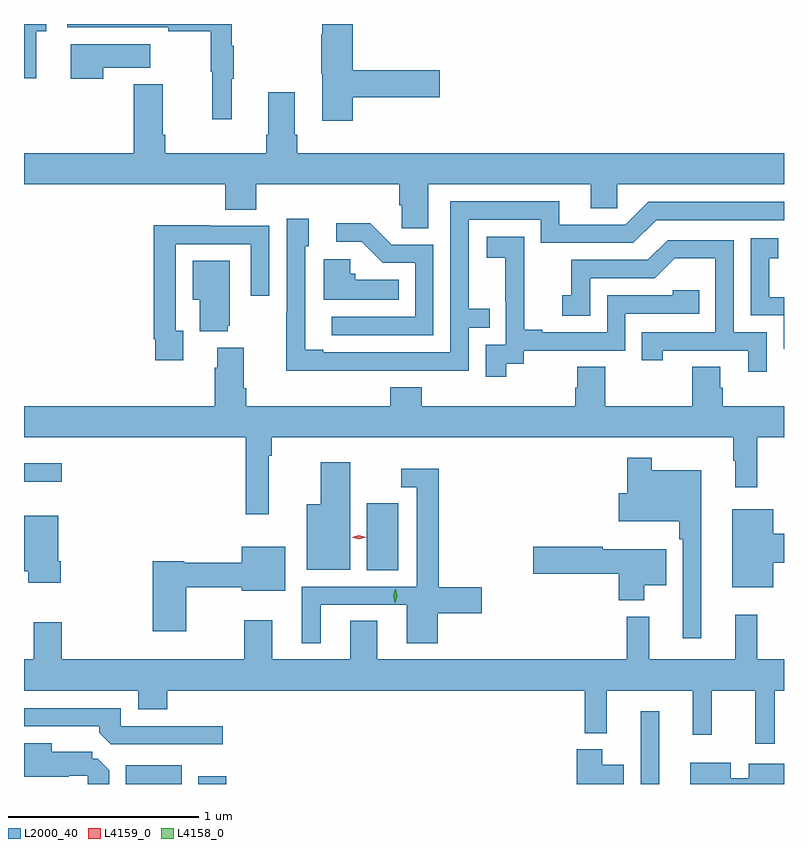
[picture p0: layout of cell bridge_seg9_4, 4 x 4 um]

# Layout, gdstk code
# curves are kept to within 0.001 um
import gdstk
lib = gdstk.Library(unit=1e-6, precision=1e-09)
def R(c, l, rs):  # rectangles x0, y0, x1, y1
    for r in rs: c.add(gdstk.rectangle(r[:2], r[2:], *l))
def P(c, l, *ps):  # polygons
    for p in ps: c.add(gdstk.Polygon(p, *l))
L2000_40 = (2000, 40)
L4158_0 = (4158, 0)
L4159_0 = (4159, 0)

bridge_seg9_4 = lib.new_cell('bridge_seg9_4')
R(bridge_seg9_4, L2000_40, [(1046.309,1234.556,1046.602,1234.654), (1046.69,1234.556,1046.837,1234.597), (1049.019,1234.556,1049.116,1234.939), (1047.578,1235.68,1047.742,1236.034), (1045.773,1236.147,1045.972,1236.244)])
P(bridge_seg9_4, L2000_40, [(1045.838,1238.517),(1045.891,1238.517),(1045.891,1238.556),(1045.773,1238.556),(1045.773,1238.271),(1045.838,1238.271)],
  [(1047.503,1238.17),(1047.961,1238.17),(1047.961,1238.312),(1047.503,1238.312),(1047.503,1238.556),(1047.344,1238.556),(1047.344,1238.501),(1047.337,1238.501),(1047.337,1238.295),(1047.344,1238.295),(1047.344,1238.046),(1047.503,1238.046)],
  [(1046.867,1238.267),(1046.878,1238.267),(1046.878,1238.441),(1046.867,1238.441),(1046.867,1238.556),(1046.001,1238.556),(1046.001,1238.538),(1046.533,1238.538),(1046.533,1238.518),(1046.757,1238.518),(1046.757,1238.304),(1046.764,1238.304),(1046.764,1238.055),(1046.867,1238.055)],
  [(1046.189,1238.327),(1046.437,1238.327),(1046.437,1238.449),(1046.018,1238.449),(1046.018,1238.268),(1046.189,1238.268)],
  [(1047.199,1237.972),(1047.199,1238.197),(1047.059,1238.197),(1047.059,1237.972),(1047.047,1237.972),(1047.047,1237.876),(1046.516,1237.876),(1046.516,1237.972),(1046.503,1237.972),(1046.503,1238.239),(1046.351,1238.239),(1046.351,1237.876),(1045.773,1237.876),(1045.773,1237.712),(1046.831,1237.712),(1046.831,1237.579),(1046.996,1237.579),(1046.996,1237.712),(1047.749,1237.712),(1047.749,1237.603),(1047.762,1237.603),(1047.762,1237.48),(1047.901,1237.48),(1047.901,1237.712),(1048.757,1237.712),(1048.757,1237.585),(1048.896,1237.585),(1048.896,1237.712),(1049.773,1237.712),(1049.773,1237.876),(1047.212,1237.876),(1047.212,1237.972)],
  [(1047.617,1236.732),(1048.113,1236.732),(1048.113,1236.957),(1048.223,1236.957),(1048.223,1237.058),(1048.113,1237.058),(1048.113,1237.527),(1048.494,1237.527),(1048.494,1237.404),(1048.98,1237.404),(1049.1,1237.524),(1049.773,1237.524),(1049.773,1237.62),(1049.058,1237.62),(1048.938,1237.5),(1048.591,1237.5),(1048.591,1237.623),(1048.017,1237.623),(1048.017,1236.828),(1047.349,1236.828),(1047.349,1236.841),(1047.252,1236.841),(1047.252,1237.386),(1047.271,1237.386),(1047.271,1237.531),(1047.156,1237.531),(1047.156,1237.037),(1047.154,1237.037),(1047.154,1236.731)],
  [(1047.927,1237.395),(1047.708,1237.395),(1047.595,1237.508),(1047.417,1237.508),(1047.417,1237.41),(1047.551,1237.41),(1047.662,1237.299),(1047.831,1237.299),(1047.831,1237.014),(1047.393,1237.014),(1047.393,1236.918),(1047.927,1236.918)],
  [(1046.611,1236.942),(1046.571,1236.942),(1046.571,1237.398),(1046.967,1237.398),(1046.967,1237.125),(1047.063,1237.125),(1047.063,1237.494),(1046.747,1237.494),(1046.747,1237.496),(1046.455,1237.496),(1046.455,1236.898),(1046.463,1236.898),(1046.463,1236.786),(1046.611,1236.786)],
  [(1048.312,1236.769),(1048.404,1236.769),(1048.404,1236.837),(1048.938,1236.837),(1048.938,1237.032),(1049.327,1237.032),(1049.327,1237.155),(1049.187,1237.155),(1049.187,1237.128),(1048.842,1237.128),(1048.842,1236.933),(1048.501,1236.933),(1048.501,1236.946),(1048.406,1236.946),(1048.406,1237.229),(1048.407,1237.229),(1048.407,1237.435),(1048.209,1237.435),(1048.209,1237.325),(1048.307,1237.325),(1048.307,1237.097),(1048.308,1237.097),(1048.308,1236.867),(1048.203,1236.867),(1048.203,1236.699),(1048.312,1236.699)],
  [(1049.773,1237.119),(1049.695,1237.119),(1049.695,1237.323),(1049.744,1237.323),(1049.744,1237.429),(1049.598,1237.429),(1049.598,1237.023),(1049.772,1237.023),(1049.772,1236.846),(1049.773,1236.845)],
  [(1049.682,1236.933),(1049.508,1236.933),(1049.508,1237.419),(1049.162,1237.419),(1049.057,1237.314),(1048.654,1237.314),(1048.654,1237.129),(1048.605,1237.129),(1048.605,1237.02),(1048.752,1237.02),(1048.752,1237.218),(1049.094,1237.218),(1049.198,1237.322),(1049.412,1237.322),(1049.412,1236.933),(1049.023,1236.933),(1049.023,1236.786),(1049.134,1236.786),(1049.134,1236.837),(1049.585,1236.837),(1049.585,1236.726),(1049.682,1236.726)],
  [(1047.746,1237.21),(1047.516,1237.21),(1047.516,1237.242),(1047.489,1237.242),(1047.489,1237.318),(1047.35,1237.318),(1047.35,1237.106),(1047.746,1237.106)],
  [(1046.846,1236.969),(1046.857,1236.969),(1046.857,1237.309),(1046.66,1237.309),(1046.66,1237.106),(1046.699,1237.106),(1046.699,1236.938),(1046.846,1236.938)],
  [(1047.062,1236.284),(1047.077,1236.284),(1047.077,1236.38),(1049.505,1236.38),(1049.505,1236.257),(1049.516,1236.257),(1049.516,1236.117),(1049.633,1236.117),(1049.633,1236.38),(1049.773,1236.38),(1049.773,1236.544),(1049.45,1236.544),(1049.45,1236.642),(1049.437,1236.642),(1049.437,1236.752),(1049.29,1236.752),(1049.29,1236.544),(1048.833,1236.544),(1048.833,1236.752),(1048.685,1236.752),(1048.685,1236.642),(1048.673,1236.642),(1048.673,1236.544),(1047.866,1236.544),(1047.866,1236.643),(1047.701,1236.643),(1047.701,1236.544),(1046.942,1236.544),(1046.942,1236.64),(1046.929,1236.64),(1046.929,1236.853),(1046.789,1236.853),(1046.789,1236.746),(1046.777,1236.746),(1046.777,1236.544),(1045.773,1236.544),(1045.773,1236.38),(1046.941,1236.38),(1046.941,1235.976),(1047.062,1235.976)],
  [(1049.338,1236.208),(1049.077,1236.208),(1049.077,1236.274),(1048.948,1236.274),(1048.948,1236.087),(1048.904,1236.087),(1048.904,1235.939),(1049.221,1235.939),(1049.221,1235.843),(1049.241,1235.843),(1049.241,1235.322),(1049.338,1235.322)],
  [(1047.49,1236.25),(1047.335,1236.25),(1047.335,1236.028),(1047.26,1236.028),(1047.26,1235.684),(1047.49,1235.684)],
  [(1047.334,1235.499),(1047.788,1235.499),(1047.788,1235.298),(1047.95,1235.298),(1047.95,1235.456),(1048.183,1235.456),(1048.183,1235.591),(1047.956,1235.591),(1047.956,1236.214),(1047.759,1236.214),(1047.759,1236.117),(1047.84,1236.117),(1047.84,1235.595),(1047.236,1235.595),(1047.236,1235.298),(1047.334,1235.298)],
  [(1049.716,1235.72),(1049.773,1235.72),(1049.773,1235.872),(1049.716,1235.872),(1049.716,1236.001),(1049.501,1236.001),(1049.501,1235.591),(1049.716,1235.591)],
  [(1045.967,1235.728),(1045.954,1235.728),(1045.954,1235.968),(1045.775,1235.968),(1045.775,1235.676),(1045.796,1235.676),(1045.796,1235.616),(1045.967,1235.616)],
  [(1046.628,1235.592),(1046.918,1235.592),(1046.918,1235.573),(1047.148,1235.573),(1047.148,1235.806),(1046.918,1235.806),(1046.918,1235.72),(1046.616,1235.72),(1046.616,1235.728),(1046.45,1235.728),(1046.45,1235.361),(1046.628,1235.361)],
  [(1049.038,1235.603),(1049.152,1235.603),(1049.152,1235.791),(1048.82,1235.791),(1048.82,1235.804),(1048.452,1235.804),(1048.452,1235.662),(1048.904,1235.662),(1048.904,1235.522),(1049.038,1235.522)],
  [(1049.725,1235.048),(1049.773,1235.048),(1049.773,1235.212),(1049.633,1235.212),(1049.633,1235.446),(1049.516,1235.446),(1049.516,1235.212),(1049.063,1235.212),(1049.063,1235.437),(1048.945,1235.437),(1048.945,1235.212),(1047.631,1235.212),(1047.631,1235.414),(1047.491,1235.414),(1047.491,1235.212),(1047.079,1235.212),(1047.079,1235.419),(1046.932,1235.419),(1046.932,1235.212),(1045.971,1235.212),(1045.971,1235.407),(1045.823,1235.407),(1045.823,1235.212),(1045.773,1235.212),(1045.773,1235.048),(1046.375,1235.048),(1046.375,1234.949),(1046.528,1234.949),(1046.528,1235.048),(1048.723,1235.048),(1048.723,1234.823),(1048.841,1234.823),(1048.841,1235.048),(1049.294,1235.048),(1049.294,1234.815),(1049.394,1234.815),(1049.394,1235.048),(1049.621,1235.048),(1049.621,1234.767),(1049.725,1234.767)],
  [(1046.818,1234.86),(1046.283,1234.86),(1046.283,1234.956),(1045.773,1234.956),(1045.773,1234.86),(1046.168,1234.86),(1046.168,1234.826),(1046.229,1234.764),(1046.818,1234.764)],
  [(1046.221,1234.629),(1046.161,1234.689),(1046.133,1234.689),(1046.133,1234.726),(1045.918,1234.726),(1045.918,1234.771),(1045.773,1234.771),(1045.773,1234.595),(1046.009,1234.595),(1046.009,1234.599),(1046.109,1234.599),(1046.109,1234.556),(1046.221,1234.556)],
  [(1048.93,1234.657),(1048.816,1234.657),(1048.816,1234.738),(1048.682,1234.738),(1048.682,1234.556),(1048.93,1234.556)],
  [(1049.773,1234.663),(1049.588,1234.663),(1049.588,1234.585),(1049.494,1234.585),(1049.494,1234.669),(1049.279,1234.669),(1049.279,1234.556),(1049.773,1234.556)])
P(bridge_seg9_4, L4158_0, [(1047.725,1235.51),(1047.717,1235.547),(1047.728,1235.582),(1047.729,1235.582),(1047.729,1235.582),(1047.737,1235.546),(1047.726,1235.51),(1047.726,1235.51)])
P(bridge_seg9_4, L4159_0, [(1047.535,1235.845),(1047.497,1235.855),(1047.496,1235.855),(1047.497,1235.855),(1047.535,1235.865),(1047.573,1235.855),(1047.573,1235.855),(1047.573,1235.855)])

lib.write_gds('bridge_seg9_4.gds')
